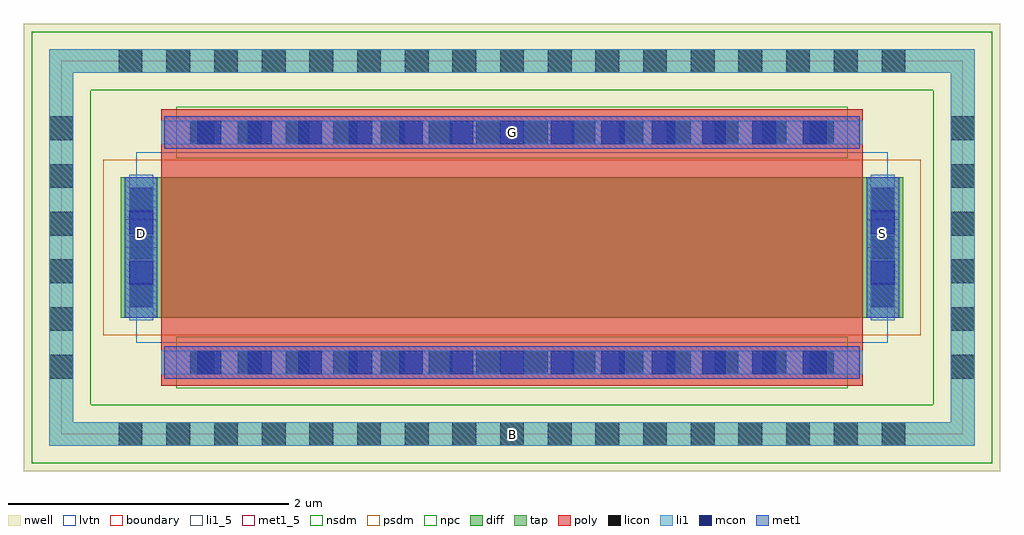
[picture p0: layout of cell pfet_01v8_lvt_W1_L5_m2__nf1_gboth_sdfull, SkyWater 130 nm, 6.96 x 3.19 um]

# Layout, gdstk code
import gdstk
lib = gdstk.Library(unit=1e-6, precision=1e-09)
def R(c, l, rs):  # rectangles x0, y0, x1, y1
    for r in rs: c.add(gdstk.rectangle(r[:2], r[2:], *l))
def A(c, l, x, y, w, h, nx, ny, dx, dy):  # array of equal rectangles
    R(c, l, [(x+i*dx, y+j*dy, x+i*dx+w, y+j*dy+h) for i in range(nx) for j in range(ny)])
nwell = (64, 20)
diff = (65, 20)
tap = (65, 44)
poly = (66, 20)
licon = (66, 44)
li1_5 = (67, 5)
li1 = (67, 20)
mcon = (67, 44)
met1_5 = (68, 5)
met1 = (68, 20)
nsdm = (93, 44)
psdm = (94, 20)
npc = (95, 20)
lvtn = (125, 44)
boundary = (235, 4)

sky130_fd_pr__pfet_01v8_ = lib.new_cell('sky130_fd_pr__pfet_01v8_lvt_GL3PXX')
R(sky130_fd_pr__pfet_01v8_, nwell, [(-3.48,-1.595,3.48,1.595)])
R(sky130_fd_pr__pfet_01v8_, diff, [(-2.79,-0.5,2.79,0.5)])
R(sky130_fd_pr__pfet_01v8_, tap, [(-3.3,-1.415,3.3,-1.245), (-3.3,-1.245,-3.13,1.245), (3.13,-1.245,3.3,1.245), (-3.3,1.245,3.3,1.415)])
R(sky130_fd_pr__pfet_01v8_, poly, [(-2.5,-0.985,2.5,0.985)])
A(sky130_fd_pr__pfet_01v8_, licon, -2.805, -1.415, 0.17, 0.17, 17, 2, 0.34, 2.66)
A(sky130_fd_pr__pfet_01v8_, licon, -3.3, -0.935, 0.17, 0.17, 1, 6, 0, 0.34)
A(sky130_fd_pr__pfet_01v8_, licon, 3.13, -0.935, 0.17, 0.17, 1, 6, 0, 0.34)
A(sky130_fd_pr__pfet_01v8_, licon, -2.295, -0.905, 0.17, 0.17, 14, 2, 0.34, 1.64)
A(sky130_fd_pr__pfet_01v8_, licon, -2.73, -0.425, 0.17, 0.17, 1, 3, 0, 0.34)
A(sky130_fd_pr__pfet_01v8_, licon, 2.56, -0.425, 0.17, 0.17, 1, 3, 0, 0.34)
R(sky130_fd_pr__pfet_01v8_, li1, [(-3.3,-1.415,3.3,-1.245), (-3.3,-1.245,-3.13,1.245), (3.13,-1.245,3.3,1.245), (-2.5,-0.905,2.5,-0.735), (-2.73,-0.52,-2.56,0.52), (2.56,-0.52,2.73,0.52), (-2.5,0.735,2.5,0.905), (-3.3,1.245,3.3,1.415)])
A(sky130_fd_pr__pfet_01v8_, mcon, -2.245, -0.905, 0.17, 0.17, 13, 2, 0.36, 1.64)
R(sky130_fd_pr__pfet_01v8_, mcon, [(-2.73,-0.265,-2.56,-0.095), (2.56,-0.265,2.73,-0.095), (-2.73,0.095,-2.56,0.265), (2.56,0.095,2.73,0.265)])
R(sky130_fd_pr__pfet_01v8_, met1, [(-2.48,-0.935,2.48,-0.705), (-2.76,-0.5,-2.53,0.5), (2.53,-0.5,2.76,0.5), (-2.48,0.705,2.48,0.935)])
R(sky130_fd_pr__pfet_01v8_, nsdm, [(-3.425,-1.54,3.425,-1.12), (-3.425,-1.12,-3.005,1.12), (3.005,-1.12,3.425,1.12), (-3.425,1.12,3.425,1.54)])
R(sky130_fd_pr__pfet_01v8_, psdm, [(-2.915,-0.625,2.915,0.625)])
R(sky130_fd_pr__pfet_01v8_, npc, [(-2.395,-1.005,2.395,-0.635), (-2.395,0.635,2.395,1.005)])
R(sky130_fd_pr__pfet_01v8_, lvtn, [(-2.68,-0.68,2.68,0.68)])
R(sky130_fd_pr__pfet_01v8_, boundary, [(-3.215,-1.33,3.215,1.33)])
sky130_fd_pr__pfet_01v8_.add(gdstk.Label('B', (0,-1.33), layer=67, texttype=5))
sky130_fd_pr__pfet_01v8_.add(gdstk.Label('D', (-2.645,0), layer=67, texttype=5))
sky130_fd_pr__pfet_01v8_.add(gdstk.Label('S', (2.645,0), layer=67, texttype=5))
sky130_fd_pr__pfet_01v8_.add(gdstk.Label('G', (0,0.82), layer=67, texttype=5))

pfet_01v8_lvt_w1_l5_m2__ = lib.new_cell('pfet_01v8_lvt_W1_L5_m2__nf1_gboth_sdfull')
R(pfet_01v8_lvt_w1_l5_m2__, li1_5, [(3.13,-0.085,3.3,0.085)])
R(pfet_01v8_lvt_w1_l5_m2__, li1, [(3.13,-0.085,3.3,0.085)])
R(pfet_01v8_lvt_w1_l5_m2__, met1_5, [(0.455,1.33,0.685,1.53), (5.745,1.33,5.975,1.53), (0.735,2.035,5.695,2.265)])
R(pfet_01v8_lvt_w1_l5_m2__, met1, [(0.455,1.33,0.685,1.53), (5.745,1.33,5.975,1.53), (0.735,2.035,5.695,2.265)])
pfet_01v8_lvt_w1_l5_m2__.add(gdstk.Reference(sky130_fd_pr__pfet_01v8_, (3.215,1.33)))
pfet_01v8_lvt_w1_l5_m2__.add(gdstk.Label('D', (0.57,1.43), layer=68, texttype=5))
pfet_01v8_lvt_w1_l5_m2__.add(gdstk.Label('S', (5.86,1.43), layer=68, texttype=5))
pfet_01v8_lvt_w1_l5_m2__.add(gdstk.Label('G', (3.215,2.15), layer=68, texttype=5))
pfet_01v8_lvt_w1_l5_m2__.add(gdstk.Label('B', (3.215,0), layer=67, texttype=5))

lib.write_gds('pfet_01v8_lvt_W1_L5_m2__nf1_gboth_sdfull.gds')
